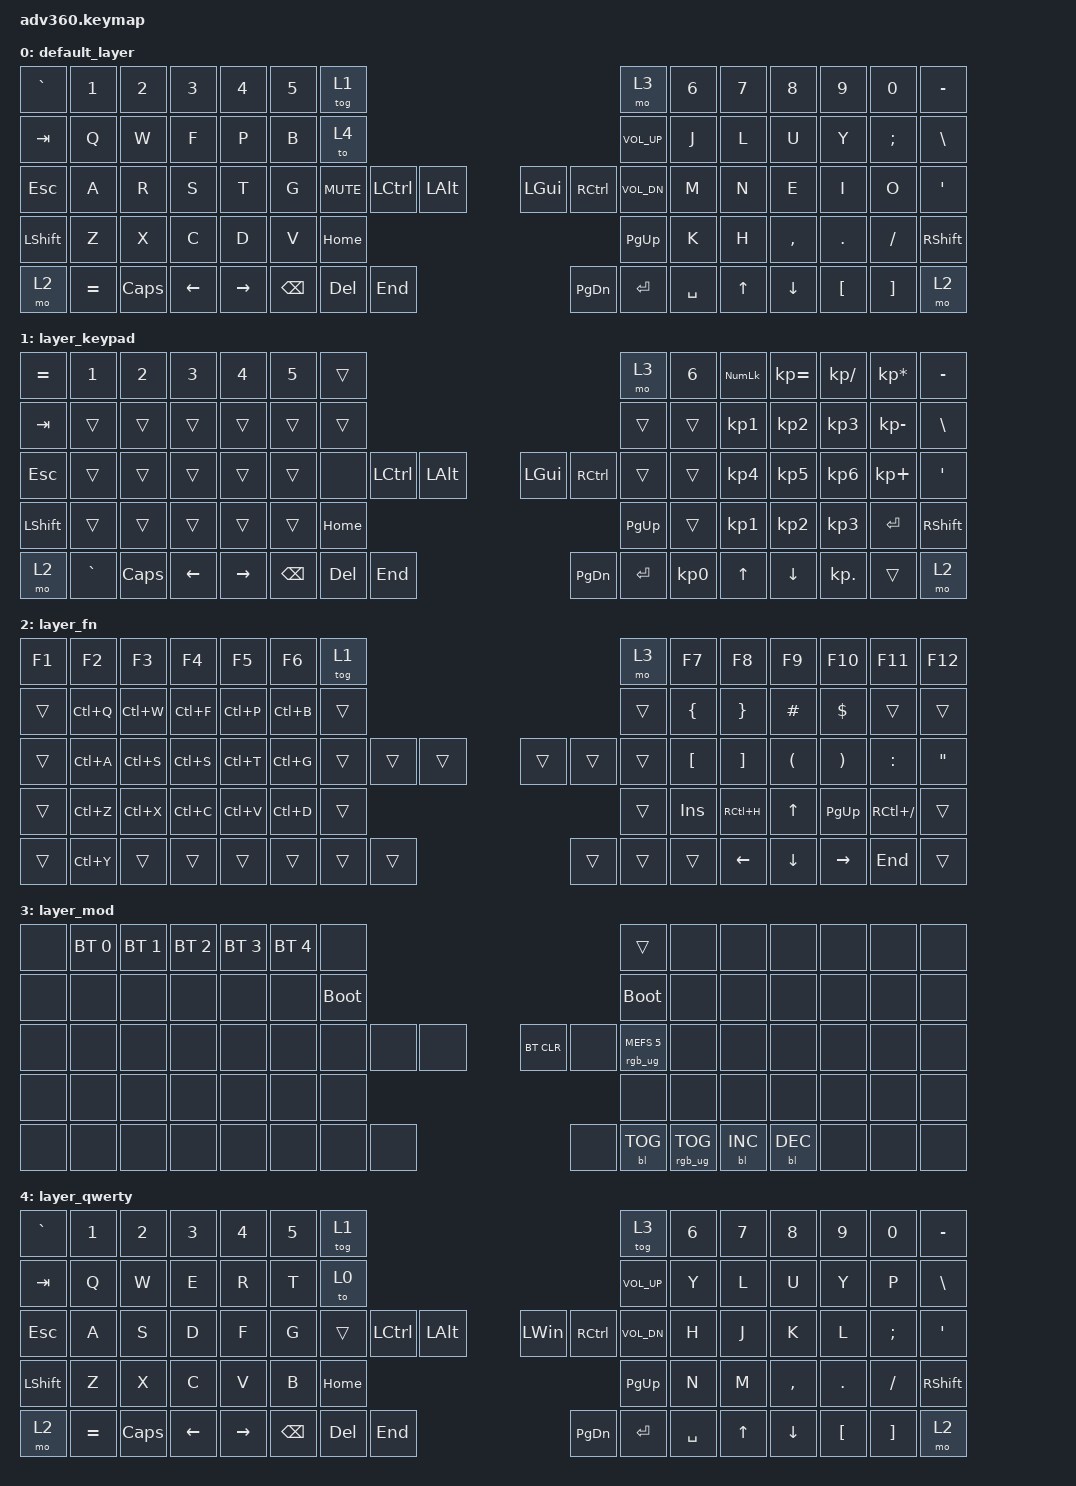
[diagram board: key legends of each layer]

/*
 * Copyright (c) 2020 The ZMK Contributors
 *
 * SPDX-License-Identifier: MIT
 */


/* THIS FILE WAS GENERATED!
 *
 * This file was generated automatically. You may or may not want to
 * edit it directly.
 */

#include <behaviors.dtsi>
#include <dt-bindings/zmk/keys.h>
#include <dt-bindings/zmk/bt.h>
#include <dt-bindings/zmk/rgb.h>
#include <dt-bindings/zmk/backlight.h>

/ {
  behaviors {
    #include "macros.dtsi"

    hm: homerow_mods {
        compatible = "zmk,behavior-hold-tap";
        label = "HOMEROW_MODS";
        #binding-cells = <2>;
        tapping-term-ms = <200>;
        quick_tap_ms = <175>;
        flavor = "tap-preferred";
        bindings = <&kp>, <&kp>;
    };
  };

    keymap {
        compatible = "zmk,keymap";


        default_layer {
            bindings = <
 &kp GRAVE     &kp N1    &kp N2    &kp N3     &kp N4  &kp N5                &tog 1                                                                       &mo 3  &kp N6  &kp N7     &kp N8    &kp N9    &kp N0  &kp MINUS
   &kp TAB      &kp Q     &kp W     &kp F      &kp P   &kp B                 &to 4                                                             &kp C_VOLUME_UP   &kp J   &kp L      &kp U     &kp Y  &kp SEMI   &kp BSLH
   &kp ESC      &kp A     &kp R     &kp S      &kp T   &kp G            &kp C_MUTE  &kp LCTRL  &kp LALT                   &kp LGUI  &kp RCTRL     &kp C_VOL_DN   &kp M   &kp N      &kp E     &kp I     &kp O    &kp SQT
 &kp LSHFT      &kp Z     &kp X     &kp C      &kp D   &kp V                                   &kp HOME                  &kp PG_UP                               &kp K   &kp H  &kp COMMA   &kp DOT  &kp FSLH  &kp RSHFT
     &mo 2  &kp EQUAL  &kp CAPS  &kp LEFT  &kp RIGHT                      &kp BSPC    &kp DEL   &kp END                  &kp PG_DN  &kp ENTER        &kp SPACE          &kp UP   &kp DOWN  &kp LBKT  &kp RBKT      &mo 2
            >;
        };

        layer_keypad {
            bindings = <
 &kp EQUAL     &kp N1    &kp N2    &kp N3     &kp N4  &kp N5              &trans                                                                 &mo 3  &kp N6  &kp KP_NUM  &kp KP_EQUAL  &kp KP_DIVIDE  &kp KP_MULTIPLY  &kp MINUS
   &kp TAB     &trans    &trans    &trans     &trans  &trans              &trans                                                                &trans  &trans   &kp KP_N1     &kp KP_N2      &kp KP_N3     &kp KP_MINUS   &kp BSLH
   &kp ESC     &trans    &trans    &trans     &trans  &trans               &none  &kp LCTRL  &kp LALT                   &kp LGUI  &kp RCTRL     &trans  &trans   &kp KP_N4     &kp KP_N5      &kp KP_N6      &kp KP_PLUS    &kp SQT
 &kp LSHFT     &trans    &trans    &trans     &trans  &trans                                 &kp HOME                  &kp PG_UP                        &trans   &kp KP_N1     &kp KP_N2      &kp KP_N3        &kp ENTER  &kp RSHFT
     &mo 2  &kp GRAVE  &kp CAPS  &kp LEFT  &kp RIGHT                    &kp BSPC    &kp DEL   &kp END                  &kp PG_DN  &kp ENTER  &kp KP_N0              &kp UP      &kp DOWN     &kp KP_DOT           &trans      &mo 2
            >;
        };

        layer_fn {
            bindings = <
 &kp F1     &kp F2     &kp F3     &kp F4     &kp F5     &kp F6            &tog 1                                                   &mo 3            &kp F7             &kp F8                &kp F9                &kp F10        &kp F11            &kp F12
 &trans  &kp LC(Q)  &kp LC(W)  &kp LC(F)  &kp LC(P)  &kp LC(B)            &trans                                                  &trans    &kp LEFT_BRACE    &kp RIGHT_BRACE              &kp HASH             &kp DOLLAR         &trans             &trans
 &trans  &kp LC(A)  &kp LC(S)  &kp LC(S)  &kp LC(T)  &kp LC(G)            &trans  &trans  &trans                  &trans  &trans  &trans  &kp LEFT_BRACKET  &kp RIGHT_BRACKET  &kp LEFT_PARENTHESIS  &kp RIGHT_PARENTHESIS      &kp COLON  &kp DOUBLE_QUOTES
 &trans  &kp LC(Z)  &kp LC(X)  &kp LC(C)  &kp LC(V)  &kp LC(D)                            &trans                  &trans                           &kp INS          &kp RC(H)          &kp UP_ARROW            &kp PAGE_UP  &kp RC(SLASH)             &trans
 &trans  &kp LC(Y)     &trans     &trans     &trans                       &trans  &trans  &trans                  &trans  &trans  &trans                       &kp LEFT_ARROW        &kp DOWN_ARROW        &kp RIGHT_ARROW        &kp END             &trans
            >;
        };

        layer_mod {
            bindings = <
  &none  &bt BT_SEL 0  &bt BT_SEL 1  &bt BT_SEL 2  &bt BT_SEL 3  &bt BT_SEL 4                  &none                                                                          &trans   &none       &none       &none   &none   &none   &none
  &none         &none         &none         &none         &none         &none            &bootloader                                                                     &bootloader   &none       &none       &none   &none   &none   &none
  &none         &none         &none         &none         &none         &none                  &none   &none   &none                  &bt BT_CLR       &none  &rgb_ug RGB_MEFS_CMD 5   &none       &none       &none   &none   &none   &none
  &none         &none         &none         &none         &none         &none                                  &none                       &none                                       &none       &none       &none   &none   &none   &none
  &none         &none         &none         &none         &none                                &none   &none   &none                       &none  &bl BL_TOG         &rgb_ug RGB_TOG          &bl BL_INC  &bl BL_DEC   &none   &none   &none
            >;
        };

        layer_qwerty {
            bindings = <
      &kp GRAVE  &kp NUMBER_1  &kp NUMBER_2    &kp NUMBER_3     &kp NUMBER_4  &kp NUMBER_5                   &tog 1                                                                                          &tog 3  &kp NUMBER_6  &kp NUMBER_7    &kp NUMBER_8      &kp NUMBER_9       &kp NUMBER_0         &kp MINUS
        &kp TAB         &kp Q         &kp W           &kp E            &kp R         &kp T                    &to 0                                                                                    &kp C_VOL_UP         &kp Y         &kp L           &kp U             &kp Y              &kp P     &kp BACKSLASH
        &kp ESC         &kp A         &kp S           &kp D            &kp F         &kp G                   &trans  &kp LEFT_CONTROL  &kp LEFT_ALT                   &kp LEFT_WIN  &kp RIGHT_CONTROL  &kp C_VOL_DN         &kp H         &kp J           &kp K             &kp L           &kp SEMI  &kp SINGLE_QUOTE
 &kp LEFT_SHIFT         &kp Z         &kp X           &kp C            &kp V         &kp B                                                 &kp HOME                    &kp PAGE_UP                                          &kp N         &kp M       &kp COMMA        &kp PERIOD          &kp SLASH   &kp RIGHT_SHIFT
          &mo 2     &kp EQUAL      &kp CAPS  &kp LEFT_ARROW  &kp RIGHT_ARROW                          &kp BACKSPACE        &kp DELETE       &kp END                  &kp PAGE_DOWN          &kp ENTER     &kp SPACE                &kp UP_ARROW  &kp DOWN_ARROW  &kp LEFT_BRACKET  &kp RIGHT_BRACKET             &mo 2
            >;
        };

    };
};
